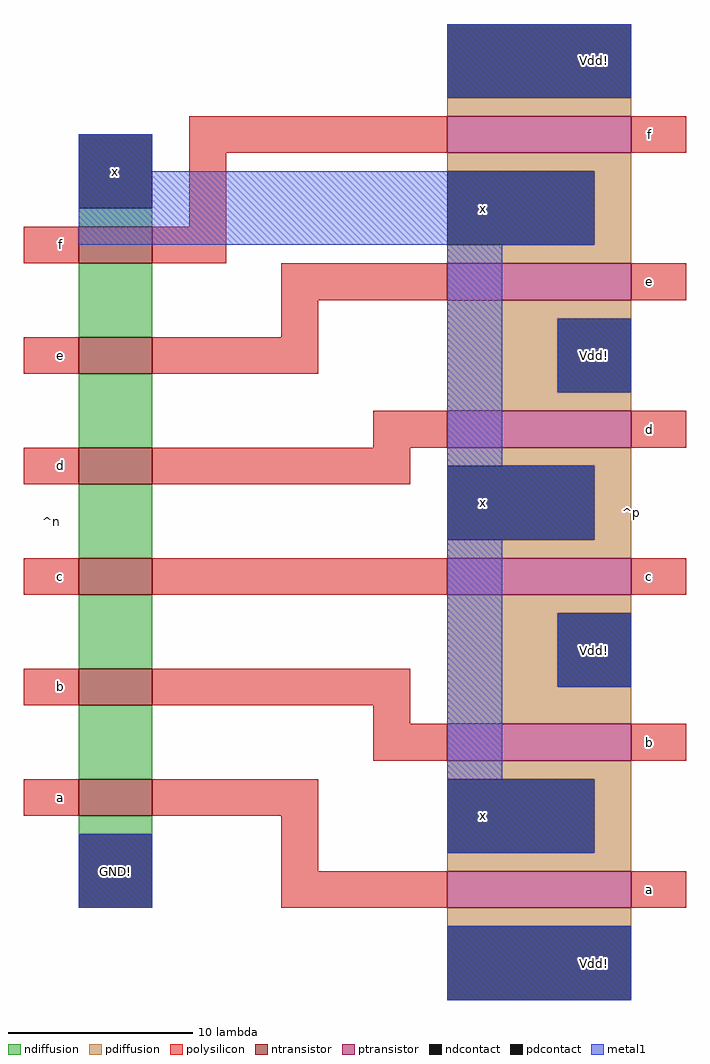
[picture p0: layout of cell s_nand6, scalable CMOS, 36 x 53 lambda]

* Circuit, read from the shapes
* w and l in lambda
.subckt s_nand6 GND! Vdd! a b c d e f x
M1 n1 a GND! VSUBS nfet w=4 l=2
M2 n2 b n1 VSUBS nfet w=4 l=2
M3 n3 c n2 VSUBS nfet w=4 l=2
M4 n4 d n3 VSUBS nfet w=4 l=2
M5 n5 e n4 VSUBS nfet w=4 l=2
M6 x f n5 VSUBS nfet w=4 l=2
M7 x a Vdd! NWELL pfet w=10 l=2
M8 Vdd! b x NWELL pfet w=10 l=2
M9 x c Vdd! NWELL pfet w=10 l=2
M10 Vdd! d x NWELL pfet w=10 l=2
M11 x e Vdd! NWELL pfet w=10 l=2
M12 Vdd! f x NWELL pfet w=10 l=2
.ends

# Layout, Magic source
magic
tech scmos
<< ndiffusion >>
rect -2 66 2 67
rect -2 60 2 64
rect -2 54 2 58
rect -2 48 2 52
rect -2 42 2 46
rect -2 36 2 40
rect -2 33 2 34
<< pdiffusion >>
rect 18 72 28 73
rect 18 69 28 70
rect 26 65 28 69
rect 18 64 28 65
rect 18 61 28 62
rect 18 57 24 61
rect 18 56 28 57
rect 18 53 28 54
rect 26 49 28 53
rect 18 48 28 49
rect 18 45 28 46
rect 18 41 24 45
rect 18 39 28 41
rect 18 36 28 37
rect 26 32 28 36
rect 18 31 28 32
rect 18 28 28 29
<< ntransistor >>
rect -2 64 2 66
rect -2 58 2 60
rect -2 52 2 54
rect -2 46 2 48
rect -2 40 2 42
rect -2 34 2 36
<< ptransistor >>
rect 18 70 28 72
rect 18 62 28 64
rect 18 54 28 56
rect 18 46 28 48
rect 18 37 28 39
rect 18 29 28 31
<< polysilicon >>
rect 4 70 18 72
rect 28 70 31 72
rect 4 66 6 70
rect -5 64 -2 66
rect 2 64 6 66
rect 9 62 18 64
rect 28 62 31 64
rect 9 60 11 62
rect -5 58 -2 60
rect 2 58 11 60
rect 14 54 18 56
rect 28 54 31 56
rect -5 52 -2 54
rect 2 52 16 54
rect -5 46 -2 48
rect 2 46 18 48
rect 28 46 31 48
rect -5 40 -2 42
rect 2 40 16 42
rect 14 39 16 40
rect 14 37 18 39
rect 28 37 31 39
rect -5 34 -2 36
rect 2 34 11 36
rect 9 31 11 34
rect 9 29 18 31
rect 28 29 31 31
<< ndcontact >>
rect -2 67 2 71
rect -2 29 2 33
<< pdcontact >>
rect 18 73 28 77
rect 18 65 26 69
rect 24 57 28 61
rect 18 49 26 53
rect 24 41 28 45
rect 18 32 26 36
rect 18 24 28 28
<< metal1 >>
rect 18 73 28 77
rect -2 69 2 71
rect -2 65 26 69
rect 18 53 21 65
rect 24 57 28 61
rect 18 49 26 53
rect 18 36 21 49
rect 24 41 28 45
rect -2 29 2 33
rect 18 32 26 36
rect 18 24 28 28
<< labels >>
rlabel polysilicon 29 47 29 47 3 c
rlabel polysilicon 29 38 29 38 3 b
rlabel polysilicon 29 30 29 30 3 a
rlabel polysilicon 29 55 29 55 3 d
rlabel polysilicon 29 71 29 71 3 f
rlabel polysilicon 29 63 29 63 3 e
rlabel space 25 23 31 78 3 ^p
rlabel polysilicon -3 47 -3 47 3 c
rlabel polysilicon -3 41 -3 41 3 b
rlabel polysilicon -3 35 -3 35 3 a
rlabel polysilicon -3 53 -3 53 3 d
rlabel polysilicon -3 59 -3 59 3 e
rlabel polysilicon -3 65 -3 65 3 f
rlabel space -5 29 -2 71 7 ^n
rlabel pdcontact 20 67 20 67 1 x
rlabel pdcontact 20 51 20 51 1 x
rlabel pdcontact 20 34 20 34 1 x
rlabel pdcontact 26 43 26 43 1 Vdd!
rlabel pdcontact 26 59 26 59 5 Vdd!
rlabel pdcontact 26 26 26 26 1 Vdd!
rlabel pdcontact 26 75 26 75 5 Vdd!
rlabel ndcontact 0 31 0 31 5 GND!
rlabel ndcontact 0 69 0 69 3 x
<< end >>
